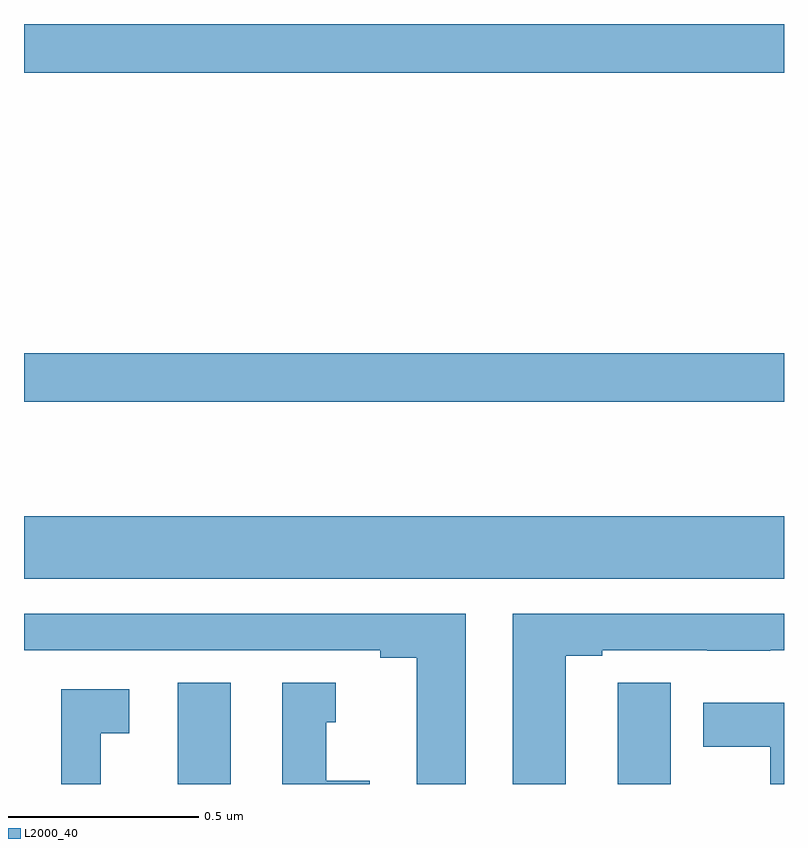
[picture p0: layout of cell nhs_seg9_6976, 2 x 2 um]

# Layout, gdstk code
import gdstk
lib = gdstk.Library(unit=1e-6, precision=1e-09)
def R(c, l, rs):  # rectangles x0, y0, x1, y1
    for r in rs: c.add(gdstk.rectangle(r[:2], r[2:], *l))
def P(c, l, *ps):  # polygons
    for p in ps: c.add(gdstk.Polygon(p, *l))
L2000_40 = (2000, 40)

nhs_seg9_6976 = lib.new_cell('nhs_seg9_6976')
R(nhs_seg9_6976, L2000_40, [(198.404,1242.5,198.544,1242.766), (198,1243.04,200,1243.204), (198,1243.506,200,1243.634), (198,1244.372,200,1244.5)])
P(nhs_seg9_6976, L2000_40, [(199.162,1242.948),(198,1242.948),(198,1242.852),(198.938,1242.852),(198.938,1242.832),(199.034,1242.832),(199.034,1242.5),(199.162,1242.5)],
  [(199.426,1242.837),(199.522,1242.837),(199.522,1242.852),(199.798,1242.852),(199.798,1242.851),(199.964,1242.851),(199.964,1242.852),(200,1242.852),(200,1242.948),(199.286,1242.948),(199.286,1242.5),(199.426,1242.5)],
  [(199.702,1242.767),(199.563,1242.767),(199.563,1242.659),(199.562,1242.659),(199.562,1242.5),(199.702,1242.5)],
  [(198.91,1242.508),(198.796,1242.508),(198.796,1242.663),(198.82,1242.663),(198.82,1242.766),(198.68,1242.766),(198.68,1242.5),(198.91,1242.5)],
  [(198.202,1242.634),(198.277,1242.634),(198.277,1242.75),(198.098,1242.75),(198.098,1242.5),(198.202,1242.5)],
  [(200,1242.714),(199.787,1242.714),(199.787,1242.598),(199.964,1242.598),(199.964,1242.5),(200,1242.5)])

lib.write_gds('nhs_seg9_6976.gds')
